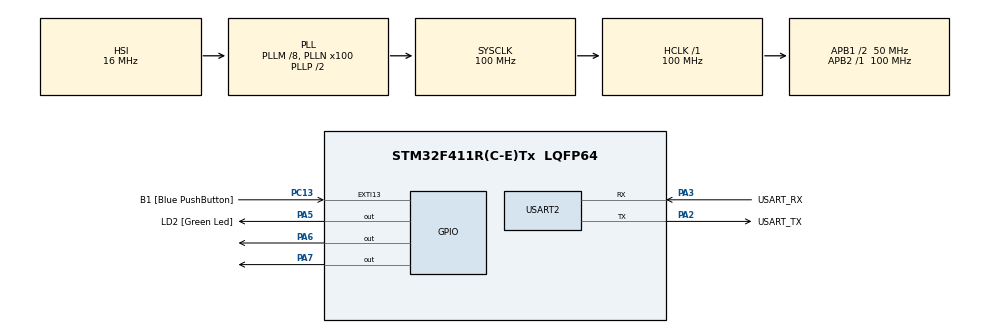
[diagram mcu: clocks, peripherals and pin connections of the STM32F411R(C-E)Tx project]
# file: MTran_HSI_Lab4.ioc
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Mcu.Family=STM32F4
Mcu.Name=STM32F411R(C-E)Tx
Mcu.Package=LQFP64
NVIC.PriorityGroup=NVIC_PRIORITYGROUP_0
NVIC.TIM3_IRQn=true\:0\:0\:false\:false\:true\:true\:true\:true
PA13.GPIO_Label=TMS
PA13.Mode=Serial_Wire
PA13.Signal=SYS_JTMS-SWDIO
PA14.GPIO_Label=TCK
PA14.Mode=Serial_Wire
PA14.Signal=SYS_JTCK-SWCLK
PA2.GPIO_Label=USART_TX
PA2.Mode=Asynchronous
PA2.Signal=USART2_TX
PA3.GPIO_Label=USART_RX
PA3.Mode=Asynchronous
PA3.Signal=USART2_RX
PA5.GPIO_Label=LD2 [Green Led]
PA5.Signal=GPIO_Output
PA6.Signal=GPIO_Output
PA7.Signal=GPIO_Output
PB3.GPIO_Label=SWO
PB3.Signal=SYS_JTDO-SWO
PC13-ANTI_TAMP.GPIO_Label=B1 [Blue PushButton]
PC13-ANTI_TAMP.GPIO_ModeDefaultEXTI=GPIO_MODE_IT_FALLING
PC13-ANTI_TAMP.Signal=GPXTI13
PC14-OSC32_IN.Mode=LSE-External-Oscillator
PC14-OSC32_IN.Signal=RCC_OSC32_IN
PC15-OSC32_OUT.Mode=LSE-External-Oscillator
PC15-OSC32_OUT.Signal=RCC_OSC32_OUT
PH0\ -\ OSC_IN.Mode=HSE-External-Clock-Source
PH0\ -\ OSC_IN.Signal=RCC_OSC_IN
PH1\ -\ OSC_OUT.Mode=HSE-External-Clock-Source
PH1\ -\ OSC_OUT.Signal=RCC_OSC_OUT
ProjectManager.HeapSize=0x200
ProjectManager.StackSize=0x400
ProjectManager.TargetToolchain=STM32CubeIDE
RCC.48MHZClocksFreq_Value=50000000
RCC.AHBFreq_Value=100000000
RCC.APB1CLKDivider=RCC_HCLK_DIV2
RCC.APB1Freq_Value=50000000
RCC.APB1TimFreq_Value=100000000
RCC.APB2Freq_Value=100000000
RCC.APB2TimFreq_Value=100000000
RCC.CortexFreq_Value=100000000
RCC.FLatency-AdvancedSettings=FLASH_LATENCY_3
RCC.HCLKFreq_Value=100000000
RCC.HSE_VALUE=8000000
RCC.HSI_VALUE=16000000
RCC.PLLM=8
RCC.PLLN=100
RCC.SYSCLKFreq_VALUE=100000000
RCC.SYSCLKSource=RCC_SYSCLKSOURCE_PLLCLK
RCC.VCOOutputFreq_Value=200000000
TIM3.AutoReloadPreload=TIM_AUTORELOAD_PRELOAD_ENABLE
TIM3.Channel-Output\ Compare1\ No\ Output=TIM_CHANNEL_1
TIM3.Channel-Output\ Compare2\ No\ Output=TIM_CHANNEL_2
TIM3.Channel-Output\ Compare3\ No\ Output=TIM_CHANNEL_3
TIM3.Channel-Output\ Compare4\ No\ Output=TIM_CHANNEL_4
TIM3.OC1Preload=ENABLE
TIM3.OC2Preload=ENABLE
TIM3.OC3Preload=ENABLE
TIM3.OC4Preload=ENABLE
TIM3.OCMode_1=TIM_OCMODE_TOGGLE
TIM3.OCMode_2=TIM_OCMODE_TOGGLE
TIM3.OCMode_3=TIM_OCMODE_TOGGLE
TIM3.OCMode_4=TIM_OCMODE_TOGGLE
TIM3.Period=499
TIM3.Prescaler=99
TIM3.TIM_MasterOutputTrigger=TIM_TRGO_UPDATE
USART2.VirtualMode=VM_ASYNC
VP_TIM3_VS_ClockSourceINT.Mode=Internal
VP_TIM3_VS_no_output1.Mode=Output Compare1 No Output
VP_TIM3_VS_no_output2.Mode=Output Compare2 No Output
VP_TIM3_VS_no_output3.Mode=Output Compare3 No Output
VP_TIM3_VS_no_output4.Mode=Output Compare4 No Output
board=NUCLEO-F411RE

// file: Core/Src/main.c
/* USER CODE BEGIN Header */
/**
  ******************************************************************************
  * @file           : main.c
  * @brief          : Main program body
  ******************************************************************************
  * @attention
  *
  * Copyright (c) 2024 STMicroelectronics.
  * All rights reserved.
  *
  * This software is licensed under terms that can be found in the LICENSE file
  * in the root directory of this software component.
  * If no LICENSE file comes with this software, it is provided AS-IS.
  *
  ******************************************************************************
  */
/* USER CODE END Header */
#include "main.h"

TIM_HandleTypeDef htim3;

UART_HandleTypeDef huart2;

void SystemClock_Config(void);
static void MX_GPIO_Init(void);
static void MX_USART2_UART_Init(void);
static void MX_TIM3_Init(void);
/* USER CODE BEGIN PFP */
void (*channelCallbackFunction[4])(void);
void createIrqTimeout( int channelNumber, uint32_t usToDelay, void (*callBackFn)(void) );
void HAL_TIM_OC_DelayElapsedCallback(TIM_HandleTypeDef *htim);
/* USER CODE END PFP */

/* USER CODE BEGIN 0 */
uint8_t stt0;
uint8_t stt1;
uint8_t stt2;
void toggleLED1(void)
{
    HAL_GPIO_TogglePin(GPIOA, GPIO_PIN_5);
    stt0 = HAL_GPIO_ReadPin(GPIOA,GPIO_PIN_5);
}

void toggleLED2(void)
{
    HAL_GPIO_TogglePin(GPIOA, GPIO_PIN_6);
    stt1 = HAL_GPIO_ReadPin(GPIOA,GPIO_PIN_6);
}

void toggleLED3(void)
{
    HAL_GPIO_TogglePin(GPIOA, GPIO_PIN_7);
    stt2 = HAL_GPIO_ReadPin(GPIOA,GPIO_PIN_7);
}

void createIrqTimeout( int channelNumber, uint32_t usToDelay, void (*callBackFn)(void) )
{
	TIM_OC_InitTypeDef sConfigOC = {0};

	uint8_t timerChannel;
	switch (channelNumber)
	{
		case 1:
			timerChannel = TIM_CHANNEL_1;
			channelCallbackFunction[0] = callBackFn;
			break;
		case 2:
			timerChannel = TIM_CHANNEL_2;
			channelCallbackFunction[1] = callBackFn;
			break;
		case 3:
			timerChannel = TIM_CHANNEL_3;
			channelCallbackFunction[2] = callBackFn;
			break;
		case 4:
			timerChannel = TIM_CHANNEL_4;
			channelCallbackFunction[3] = callBackFn;
			break;
		default:
			break;
	}

	sConfigOC.OCMode = TIM_OCMODE_TOGGLE;
	sConfigOC.Pulse = usToDelay - 1;
	sConfigOC.OCPolarity = TIM_OCPOLARITY_HIGH;
	sConfigOC.OCNPolarity = TIM_OCNPOLARITY_HIGH;
	sConfigOC.OCFastMode = TIM_OCFAST_DISABLE;
	sConfigOC.OCIdleState = TIM_OCIDLESTATE_RESET;
	sConfigOC.OCNIdleState = TIM_OCNIDLESTATE_RESET;

	if (HAL_TIM_OC_ConfigChannel(&htim3, &sConfigOC, timerChannel) != HAL_OK)
	{
		Error_Handler();
	}

	// Start the timer in interrupt mode for the selected channel
	if (callBackFn != NULL)
	{
		HAL_TIM_OC_Start_IT(&htim3, timerChannel); // Enable timer channel
	}
	else
	{
		HAL_TIM_OC_Stop_IT(&htim3, timerChannel);  // Disable timer channel
	}
}

void HAL_TIM_OC_DelayElapsedCallback(TIM_HandleTypeDef *htim)
{
    // Check if interrupt is from Channel 1
    if (htim->Channel == HAL_TIM_ACTIVE_CHANNEL_1 && channelCallbackFunction[0] != NULL)
    {
    	channelCallbackFunction[0]();
    }

    // Check if interrupt is from Channel 2
    if (htim->Channel == HAL_TIM_ACTIVE_CHANNEL_2 && channelCallbackFunction[1] != NULL)
    {
    	channelCallbackFunction[1]();
    }

    // Check if interrupt is from Channel 3
    if (htim->Channel == HAL_TIM_ACTIVE_CHANNEL_3 && channelCallbackFunction[2] != NULL)
    {
    	channelCallbackFunction[2]();
    }

    // Check if interrupt is from Channel 4
    if (htim->Channel == HAL_TIM_ACTIVE_CHANNEL_4 && channelCallbackFunction[3] != NULL)
    {
    	channelCallbackFunction[3]();
    }
}
/* USER CODE END 0 */

int main(void)
{

  /* MCU Configuration--------------------------------------------------------*/

  /* Reset of all peripherals, Initializes the Flash interface and the Systick. */
  HAL_Init();

  /* Configure the system clock */
  SystemClock_Config();

  /* Initialize all configured peripherals */
  MX_GPIO_Init();
  MX_USART2_UART_Init();
  MX_TIM3_Init();
  /* USER CODE BEGIN 2 */
  createIrqTimeout(1,100,toggleLED1);
  createIrqTimeout(2,200,toggleLED2);
  createIrqTimeout(3,400,toggleLED3);

//  HAL_TIM_OC_Start(&htim3, TIM_CHANNEL_1);
//  HAL_TIM_OC_Start(&htim3, TIM_CHANNEL_2);
//  HAL_TIM_OC_Start(&htim3, TIM_CHANNEL_3);
  /* USER CODE END 2 */

  /* Infinite loop */
  while (1)
  {

  }
}

void SystemClock_Config(void)
{
  RCC_OscInitTypeDef RCC_OscInitStruct = {0};
  RCC_ClkInitTypeDef RCC_ClkInitStruct = {0};

  /** Configure the main internal regulator output voltage
  */
  __HAL_RCC_PWR_CLK_ENABLE();
  __HAL_PWR_VOLTAGESCALING_CONFIG(PWR_REGULATOR_VOLTAGE_SCALE1);

  /** Initializes the RCC Oscillators according to the specified parameters
  * in the RCC_OscInitTypeDef structure.
  */
  RCC_OscInitStruct.OscillatorType = RCC_OSCILLATORTYPE_HSI;
  RCC_OscInitStruct.HSIState = RCC_HSI_ON;
  RCC_OscInitStruct.HSICalibrationValue = RCC_HSICALIBRATION_DEFAULT;
  RCC_OscInitStruct.PLL.PLLState = RCC_PLL_ON;
  RCC_OscInitStruct.PLL.PLLSource = RCC_PLLSOURCE_HSI;
  RCC_OscInitStruct.PLL.PLLM = 8;
  RCC_OscInitStruct.PLL.PLLN = 100;
  RCC_OscInitStruct.PLL.PLLP = RCC_PLLP_DIV2;
  RCC_OscInitStruct.PLL.PLLQ = 4;
  if (HAL_RCC_OscConfig(&RCC_OscInitStruct) != HAL_OK)
  {
    Error_Handler();
  }

  /** Initializes the CPU, AHB and APB buses clocks
  */
  RCC_ClkInitStruct.ClockType = RCC_CLOCKTYPE_HCLK|RCC_CLOCKTYPE_SYSCLK
                              |RCC_CLOCKTYPE_PCLK1|RCC_CLOCKTYPE_PCLK2;
  RCC_ClkInitStruct.SYSCLKSource = RCC_SYSCLKSOURCE_PLLCLK;
  RCC_ClkInitStruct.AHBCLKDivider = RCC_SYSCLK_DIV1;
  RCC_ClkInitStruct.APB1CLKDivider = RCC_HCLK_DIV2;
  RCC_ClkInitStruct.APB2CLKDivider = RCC_HCLK_DIV1;

  if (HAL_RCC_ClockConfig(&RCC_ClkInitStruct, FLASH_LATENCY_3) != HAL_OK)
  {
    Error_Handler();
  }
}

static void MX_TIM3_Init(void)
{

  TIM_ClockConfigTypeDef sClockSourceConfig = {0};
  TIM_MasterConfigTypeDef sMasterConfig = {0};
  TIM_OC_InitTypeDef sConfigOC = {0};

  htim3.Instance = TIM3;
  htim3.Init.Prescaler = 99;
  htim3.Init.CounterMode = TIM_COUNTERMODE_UP;
  htim3.Init.Period = 499;
  htim3.Init.ClockDivision = TIM_CLOCKDIVISION_DIV1;
  htim3.Init.AutoReloadPreload = TIM_AUTORELOAD_PRELOAD_ENABLE;
  if (HAL_TIM_Base_Init(&htim3) != HAL_OK)
  {
    Error_Handler();
  }
  sClockSourceConfig.ClockSource = TIM_CLOCKSOURCE_INTERNAL;
  if (HAL_TIM_ConfigClockSource(&htim3, &sClockSourceConfig) != HAL_OK)
  {
    Error_Handler();
  }
  if (HAL_TIM_OC_Init(&htim3) != HAL_OK)
  {
    Error_Handler();
  }
  sMasterConfig.MasterOutputTrigger = TIM_TRGO_UPDATE;
  sMasterConfig.MasterSlaveMode = TIM_MASTERSLAVEMODE_DISABLE;
  if (HAL_TIMEx_MasterConfigSynchronization(&htim3, &sMasterConfig) != HAL_OK)
  {
    Error_Handler();
  }
  sConfigOC.OCMode = TIM_OCMODE_TOGGLE;
  sConfigOC.Pulse = 0;
  sConfigOC.OCPolarity = TIM_OCPOLARITY_HIGH;
  sConfigOC.OCFastMode = TIM_OCFAST_DISABLE;
  if (HAL_TIM_OC_ConfigChannel(&htim3, &sConfigOC, TIM_CHANNEL_1) != HAL_OK)
  {
    Error_Handler();
  }
  __HAL_TIM_ENABLE_OCxPRELOAD(&htim3, TIM_CHANNEL_1);
  if (HAL_TIM_OC_ConfigChannel(&htim3, &sConfigOC, TIM_CHANNEL_2) != HAL_OK)
  {
    Error_Handler();
  }
  __HAL_TIM_ENABLE_OCxPRELOAD(&htim3, TIM_CHANNEL_2);
  if (HAL_TIM_OC_ConfigChannel(&htim3, &sConfigOC, TIM_CHANNEL_3) != HAL_OK)
  {
    Error_Handler();
  }
  __HAL_TIM_ENABLE_OCxPRELOAD(&htim3, TIM_CHANNEL_3);
  if (HAL_TIM_OC_ConfigChannel(&htim3, &sConfigOC, TIM_CHANNEL_4) != HAL_OK)
  {
    Error_Handler();
  }
  __HAL_TIM_ENABLE_OCxPRELOAD(&htim3, TIM_CHANNEL_4);

}

static void MX_USART2_UART_Init(void)
{

  huart2.Instance = USART2;
  huart2.Init.BaudRate = 115200;
  huart2.Init.WordLength = UART_WORDLENGTH_8B;
  huart2.Init.StopBits = UART_STOPBITS_1;
  huart2.Init.Parity = UART_PARITY_NONE;
  huart2.Init.Mode = UART_MODE_TX_RX;
  huart2.Init.HwFlowCtl = UART_HWCONTROL_NONE;
  huart2.Init.OverSampling = UART_OVERSAMPLING_16;
  if (HAL_UART_Init(&huart2) != HAL_OK)
  {
    Error_Handler();
  }

}

static void MX_GPIO_Init(void)
{
  GPIO_InitTypeDef GPIO_InitStruct = {0};

  /* GPIO Ports Clock Enable */
  __HAL_RCC_GPIOC_CLK_ENABLE();
  __HAL_RCC_GPIOH_CLK_ENABLE();
  __HAL_RCC_GPIOA_CLK_ENABLE();
  __HAL_RCC_GPIOB_CLK_ENABLE();

  /*Configure GPIO pin Output Level */
  HAL_GPIO_WritePin(GPIOA, LD2_Pin|GPIO_PIN_6|GPIO_PIN_7, GPIO_PIN_RESET);

  /*Configure GPIO pin : B1_Pin */
  GPIO_InitStruct.Pin = B1_Pin;
  GPIO_InitStruct.Mode = GPIO_MODE_IT_FALLING;
  GPIO_InitStruct.Pull = GPIO_NOPULL;
  HAL_GPIO_Init(B1_GPIO_Port, &GPIO_InitStruct);

  /*Configure GPIO pins : LD2_Pin PA6 PA7 */
  GPIO_InitStruct.Pin = LD2_Pin|GPIO_PIN_6|GPIO_PIN_7;
  GPIO_InitStruct.Mode = GPIO_MODE_OUTPUT_PP;
  GPIO_InitStruct.Pull = GPIO_NOPULL;
  GPIO_InitStruct.Speed = GPIO_SPEED_FREQ_LOW;
  HAL_GPIO_Init(GPIOA, &GPIO_InitStruct);

}

void Error_Handler(void)
{
  __disable_irq();
  while (1)
  {
  }
}
